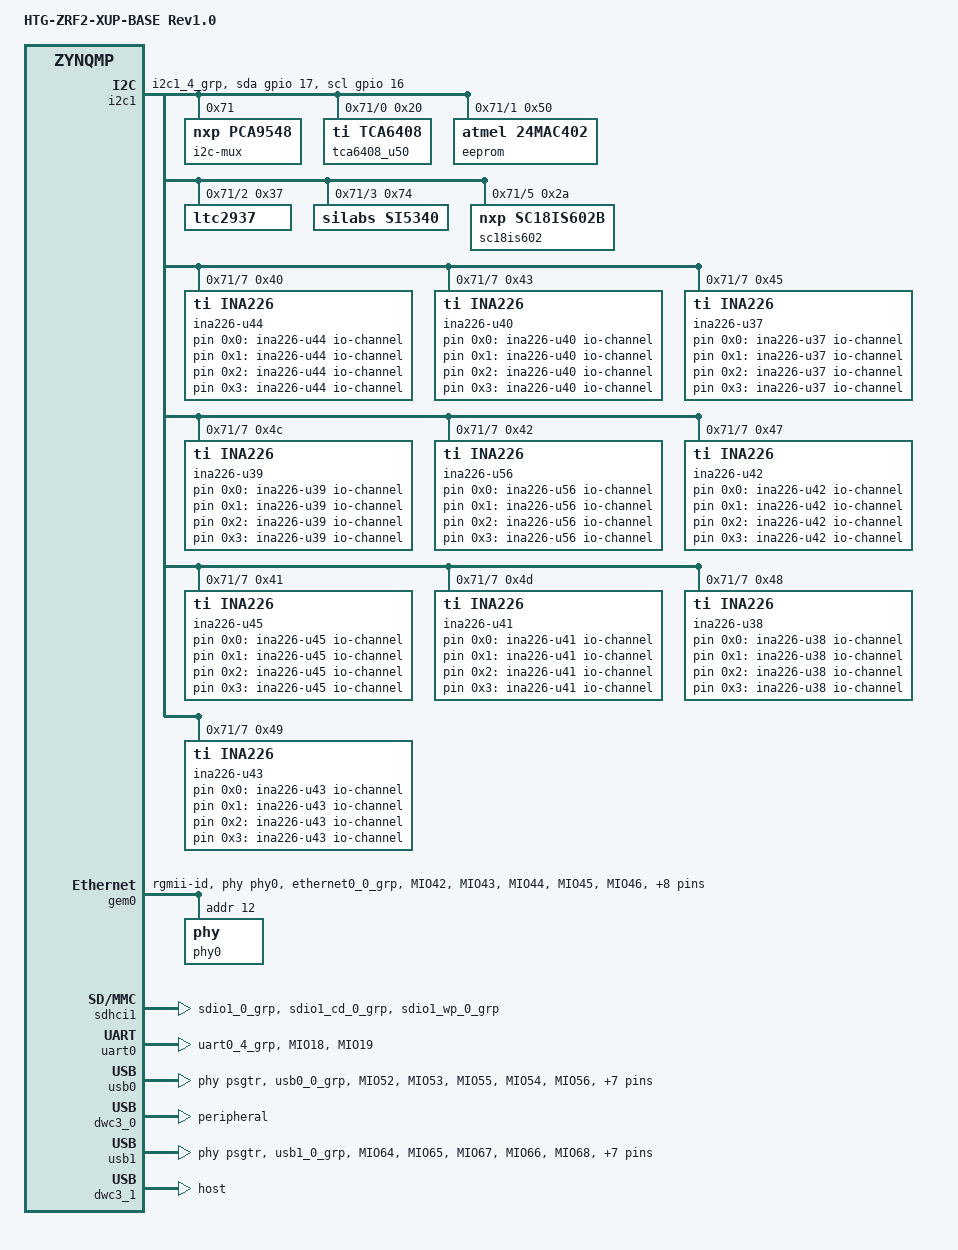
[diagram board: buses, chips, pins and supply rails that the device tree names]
#include <dt-bindings/input/input.h>
#include <dt-bindings/gpio/gpio.h>
#include <dt-bindings/pinctrl/pinctrl-zynqmp.h>
#include <dt-bindings/phy/phy.h>

/ {
	model = "HTG-ZRF2-XUP-BASE Rev1.0";
	compatible = "xlnx,zynqmp-zcu102-rev1.0", "xlnx,zynqmp-zcu102", "xlnx,zynqmp";
	
	chosen {
		xlnx,eeprom = &eeprom;
		bootargs = "earlycon clk_ignore_unused root=/dev/ram rw cma=1500M cpuidle.off=1";
		stdout-path = "serial0:115200n8";
	};

	aliases {
		i2c0 = &i2c1;
		/delete-property/ i2c1;
	};

	ina226-u44 {
		compatible = "iio-hwmon";
		io-channels = <&u44 0x0 &u44 0x1 &u44 0x2 &u44 0x3>;
	};

	ina226-u40 {
		compatible = "iio-hwmon";
		io-channels = <&u40 0x0 &u40 0x1 &u40 0x2 &u40 0x3>;
	};

	ina226-u37 {
		compatible = "iio-hwmon";
		io-channels = <&u37 0x0 &u37 0x1 &u37 0x2 &u37 0x3>;
	};

	ina226-u39 {
		compatible = "iio-hwmon";
		io-channels = <&u39 0x0 &u39 0x1 &u39 0x2 &u39 0x3>;
	};

	ina226-u56 {
		compatible = "iio-hwmon";
		io-channels = <&u56 0x0 &u56 0x1 &u56 0x2 &u56 0x3>;
	};

	ina226-u42 {
		compatible = "iio-hwmon";
		io-channels = <&u42 0x0 &u42 0x1 &u42 0x2 &u42 0x3>;
	};

	ina226-u45 {
		compatible = "iio-hwmon";
		io-channels = <&u45 0x0 &u45 0x1 &u45 0x2 &u45 0x3>;
	};

	ina226-u41 {
		compatible = "iio-hwmon";
		io-channels = <&u41 0x0 &u41 0x1 &u41 0x2 &u41 0x3>;
	};

	ina226-u38 {
		compatible = "iio-hwmon";
		io-channels = <&u38 0x0 &u38 0x1 &u38 0x2 &u38 0x3>;
	};

	ina226-u43 {
		compatible = "iio-hwmon";
		io-channels = <&u43 0x0 &u43 0x1 &u43 0x2 &u43 0x3>;
	};

	dp_clk:psgtr_dp_clock {
		compatible = "fixed-clock";
		#clock-cells = <0x00>;
		clock-frequency = <27000000>;
	};

	usb_clk:psgtr_usb_clock {
		compatible = "fixed-clock";
		#clock-cells = <0x00>;
		clock-frequency = <26000000>;
	};

};


&pinctrl0 {
	status = "okay";

	pinctrl_i2c1_default: i2c1-default {
		mux {
			groups = "i2c1_4_grp";
			function = "i2c1";
		};

		conf {
			groups = "i2c1_4_grp";
			bias-pull-up;
			slew-rate = <SLEW_RATE_SLOW>;
			io-standard = <IO_STANDARD_LVCMOS18>;
		};
	};

	pinctrl_i2c1_gpio: i2c1-gpio {
		mux {
			groups = "gpio0_16_grp", "gpio0_17_grp";
			function = "gpio0";
		};

		conf {
			groups = "gpio0_16_grp", "gpio0_17_grp";
			slew-rate = <SLEW_RATE_SLOW>;
			io-standard = <IO_STANDARD_LVCMOS18>;
		};
	};

	pinctrl_uart0_default: uart0-default {
		mux {
			groups = "uart0_4_grp";
			function = "uart0";
		};

		conf {
			groups = "uart0_4_grp";
			slew-rate = <SLEW_RATE_SLOW>;
			io-standard = <IO_STANDARD_LVCMOS18>;
		};

		conf-rx {
			pins = "MIO18";
			bias-high-impedance;
		};

		conf-tx {
			pins = "MIO19";
			bias-disable;
		};
	};

	pinctrl_usb0_default: usb0-default {
		mux {
			groups = "usb0_0_grp";
			function = "usb0";
		};

		conf {
			groups = "usb0_0_grp";
			slew-rate = <SLEW_RATE_SLOW>;
			io-standard = <IO_STANDARD_LVCMOS18>;
		};

		conf-rx {
			pins = "MIO52", "MIO53", "MIO55";
			bias-high-impedance;
		};

		conf-tx {
			pins = "MIO54", "MIO56", "MIO57", "MIO58", "MIO59",
			       "MIO60", "MIO61", "MIO62", "MIO63";
			bias-disable;
		};
	};

	pinctrl_usb1_default: usb1-default {
		mux {
			groups = "usb1_0_grp";
			function = "usb1";
		};

		conf {
			groups = "usb1_0_grp";
			slew-rate = <SLEW_RATE_SLOW>;
			io-standard = <IO_STANDARD_LVCMOS18>;
		};

		conf-rx {
			pins = "MIO64", "MIO65", "MIO67";
			bias-high-impedance;
		};

		conf-tx {
			pins = "MIO66", "MIO68", "MIO69", "MIO70", "MIO71",
			       "MIO72", "MIO73", "MIO74", "MIO75";
			bias-disable;
		};
	};

	pinctrl_gem0_default: gem0-default {
		mux {
			function = "ethernet0";
			groups = "ethernet0_0_grp";
		};

		conf {
			groups = "ethernet0_0_grp";
			slew-rate = <SLEW_RATE_SLOW>;
			io-standard = <IO_STANDARD_LVCMOS18>;
		};

		conf-rx {
			pins = "MIO42", "MIO43", "MIO44", "MIO45", "MIO46", "MIO47";
			bias-high-impedance;
			low-power-disable;
		};

		conf-tx {
			pins = "MIO26", "MIO27", "MIO28", "MIO29", "MIO30", "MIO31";
			bias-disable;
			low-power-enable;
		};

		mux-mdio {
			function = "mdio0";
			groups = "mdio0_0_grp";
		};

		conf-mdio {
			groups = "mdio0_0_grp";
			slew-rate = <SLEW_RATE_SLOW>;
			io-standard = <IO_STANDARD_LVCMOS18>;
			bias-disable;
		};
	};

	pinctrl_sdhci1_default: sdhci1-default {
		mux {
			groups = "sdio1_0_grp";
			function = "sdio1";
		};

		conf {
			groups = "sdio1_0_grp";
			slew-rate = <SLEW_RATE_SLOW>;
			io-standard = <IO_STANDARD_LVCMOS18>;
			bias-disable;
		};

		mux-cd {
			groups = "sdio1_cd_0_grp";
			function = "sdio1_cd";
		};

		conf-cd {
			groups = "sdio1_cd_0_grp";
			bias-high-impedance;
			bias-pull-up;
			slew-rate = <SLEW_RATE_SLOW>;
			io-standard = <IO_STANDARD_LVCMOS18>;
		};

		mux-wp {
			groups = "sdio1_wp_0_grp";
			function = "sdio1_wp";
		};

		conf-wp {
			groups = "sdio1_wp_0_grp";
			bias-high-impedance;
			bias-pull-up;
			slew-rate = <SLEW_RATE_SLOW>;
			io-standard = <IO_STANDARD_LVCMOS18>;
		};
	};

	pinctrl_gpio_default: gpio-default {
	};
};


&gpio {
	pinctrl-names = "default";
	pinctrl-0 = <&pinctrl_gpio_default>;
};


&i2c0 {
	status = "disabled";
};


&i2c1 {
	status = "okay";
	pinctrl-names = "default", "gpio";
	pinctrl-0 = <&pinctrl_i2c1_default>;
	pinctrl-1 = <&pinctrl_i2c1_gpio>;
	scl-gpios = <&gpio 16 GPIO_ACTIVE_HIGH>;
	sda-gpios = <&gpio 17 GPIO_ACTIVE_HIGH>;

	i2c-mux@71 { /* u21 */
		compatible = "nxp,pca9548";
		#address-cells = <1>;
		#size-cells = <0>;
		reg = <0x71>;
		i2c@0 {
			#address-cells = <1>;
			#size-cells = <0>;
			reg = <0>;
			tca6408_u50: gpio@20 {
				compatible = "ti,tca6408";
				reg = <0x20>;
				gpio-controller; /* IRQ not connected */
				#gpio-cells = <2>;
				/*
				* IRQ not connected
				* Lines:
				* 0 - QS3VH253PAG_S0
				* 1 - QS3VH253PAG_S1
				* 2-6 - not connected
				* 7 - INA226_CM_ALERT
				*/
				gpio-line-names = "QS3VH253PAG_S0",
					"QS3VH253PAG_S1",
					"", "", "", "", "",
					"INA226_CM_ALERT";
			};
		};
		i2c@1 { // eeprom
			#address-cells = <1>;
			#size-cells = <0>;
			reg = <1>;
			eeprom: eeprom@50 {
				compatible = "atmel,24mac402";
				reg = <0x50>;
				#address-cells = <1>;
				#size-cells = <1>;
			};
		};
		i2c@2 {
			#address-cells = <1>;
			#size-cells = <0>;
			reg = <2>;
			ltc2937: ltc2937@37 { // LTC2937 (U25)
				compatible = "ltc2937";
				reg = <0x37>;
			};
		};
		i2c@3 {
			#address-cells = <1>;
			#size-cells = <0>;
			reg = <3>;
			si5340: clock-generator@74 { // SI5340 (U54)
				compatible = "silabs,si5340";
				reg = <0x74>;
			};
		};
		i2c@4 { // syzygy connector
			#address-cells = <1>;
			#size-cells = <0>;
			reg = <4>;
		};
		 i2c@5 {
			#address-cells = <0x1>;
			#size-cells = <0x0>;
			reg = <0x5>;

			sc18is602@2a {
					compatible = "nxp,sc18is602b";
					reg = <0x2a>;
					#address-cells = <0x1>;
					#size-cells = <0x0>;
					lmxadc@0 {
							compatible = "ti,lmx2594";
							reg = <0x0>;
							spi-max-frequency = <400000>;
							num_bytes = <3>;
							};
					lmxdac@1 {
							compatible = "ti,lmx2594";
							reg = <0x1>;
							spi-max-frequency = <400000>;
							num_bytes = <3>;
							};
					lmk@3 {
							compatible = "ti,lmk04832";
							reg = <0x3>;
							spi-max-frequency = <400000>;
							num_bytes = <3>;
							};
					};
		};

		i2c@6 { // USB5742 (U26) usb hub
			#address-cells = <1>;
			#size-cells = <0>;
			reg = <6>;
		};
		i2c@7 { // current sensors
			#address-cells = <1>;
			#size-cells = <0>;
			reg = <7>;

			u44: ina226@40 { // u44
				compatible = "ti,ina226";
				#io-channel-cells = <1>;
				label = "ina226-u44";
				reg = <0x40>;
				shunt-resistor = <1000>;
			};

			u40: ina226@43 { // u40
				compatible = "ti,ina226";
				#io-channel-cells = <1>;
				label = "ina226-u40";
				reg = <0x43>;
				shunt-resistor = <1000>;
			};

			u37: ina226@45 { // u37
				compatible = "ti,ina226";
				#io-channel-cells = <1>;
				label = "ina226-u37";
				reg = <0x45>;
				shunt-resistor = <1000>;
			};

			u39: ina226@4c { // u39
				compatible = "ti,ina226";
				#io-channel-cells = <1>;
				label = "ina226-u39";
				reg = <0x4c>;
				shunt-resistor = <1000>;
			};

			u56: ina226@42 { // u56
				compatible = "ti,ina226";
				#io-channel-cells = <1>;
				label = "ina226-u56";
				reg = <0x42>;
				shunt-resistor = <1000>;
			};

			u42: ina226@47 { // u42
				compatible = "ti,ina226";
				#io-channel-cells = <1>;
				label = "ina226-u42";
				reg = <0x47>;
				shunt-resistor = <1000>;
			};

			u45: ina226@41 { // u45
				compatible = "ti,ina226";
				#io-channel-cells = <1>;
				label = "ina226-u45";
				reg = <0x41>;
				shunt-resistor = <1000>;
			};

			u41: ina226@4d { // u41
				compatible = "ti,ina226";
				#io-channel-cells = <1>;
				label = "ina226-u41";
				reg = <0x4d>;
				shunt-resistor = <1000>;
			};

			u38: ina226@48 { // u38
				compatible = "ti,ina226";
				#io-channel-cells = <1>;
				label = "ina226-u38";
				reg = <0x48>;
				shunt-resistor = <1000>;
			};

			u43: ina226@49 { // u43
				compatible = "ti,ina226";
				#io-channel-cells = <1>;
				label = "ina226-u43";
				reg = <0x49>;
				shunt-resistor = <1000>;
			};
		};
	};
};


&pinctrl0 {
	status = "okay";

	pinctrl_i2c1_default: i2c1-default {
		mux {
			groups = "i2c1_4_grp";
			function = "i2c1";
		};

		conf {
			groups = "i2c1_4_grp";
			bias-pull-up;
			slew-rate = <SLEW_RATE_SLOW>;
			io-standard = <IO_STANDARD_LVCMOS18>;
		};
	};

	pinctrl_i2c1_gpio: i2c1-gpio {
		mux {
			groups = "gpio0_16_grp", "gpio0_17_grp";
			function = "gpio0";
		};

		conf {
			groups = "gpio0_16_grp", "gpio0_17_grp";
			slew-rate = <SLEW_RATE_SLOW>;
			io-standard = <IO_STANDARD_LVCMOS18>;
		};
	};

	pinctrl_uart0_default: uart0-default {
		mux {
			groups = "uart0_4_grp";
			function = "uart0";
		};

		conf {
			groups = "uart0_4_grp";
			slew-rate = <SLEW_RATE_SLOW>;
			io-standard = <IO_STANDARD_LVCMOS18>;
		};

		conf-rx {
			pins = "MIO18";
			bias-high-impedance;
		};

		conf-tx {
			pins = "MIO19";
			bias-disable;
		};
	};

	pinctrl_usb0_default: usb0-default {
		mux {
			groups = "usb0_0_grp";
			function = "usb0";
		};

		conf {
			groups = "usb0_0_grp";
			slew-rate = <SLEW_RATE_SLOW>;
			io-standard = <IO_STANDARD_LVCMOS18>;
			drive-strength = <0xc>;
		};

		conf-rx {
			pins = "MIO52", "MIO53", "MIO55";
			bias-high-impedance;
		};

		conf-tx {
			pins = "MIO54", "MIO56", "MIO57", "MIO58", "MIO59",
			       "MIO60", "MIO61", "MIO62", "MIO63";
			bias-disable;
		};
	};

	pinctrl_usb1_default: usb1-default {
		mux {
			groups = "usb1_0_grp";
			function = "usb1";
		};

		conf {
			groups = "usb1_0_grp";
			slew-rate = <SLEW_RATE_SLOW>;
			io-standard = <IO_STANDARD_LVCMOS18>;
			drive-strength = <0xc>;
		};

		conf-rx {
			pins = "MIO64", "MIO65", "MIO67";
			bias-high-impedance;
		};

		conf-tx {
			pins = "MIO66", "MIO68", "MIO69", "MIO70", "MIO71",
			       "MIO72", "MIO73", "MIO74", "MIO75";
			bias-disable;
		};
	};

	pinctrl_gem0_default: gem0-default {
		mux {
			function = "ethernet0";
			groups = "ethernet0_0_grp";
		};

		conf {
			groups = "ethernet0_0_grp";
			slew-rate = <SLEW_RATE_SLOW>;
			io-standard = <IO_STANDARD_LVCMOS18>;
		};

		conf-rx {
			pins = "MIO42", "MIO43", "MIO44", "MIO45", "MIO46", "MIO47";
			bias-high-impedance;
			low-power-disable;
		};

		conf-tx {
			pins = "MIO26", "MIO27", "MIO28", "MIO29", "MIO30", "MIO31";
			bias-disable;
			low-power-enable;
		};

		mux-mdio {
			function = "mdio0";
			groups = "mdio0_0_grp";
		};

		conf-mdio {
			groups = "mdio0_0_grp";
			slew-rate = <SLEW_RATE_SLOW>;
			io-standard = <IO_STANDARD_LVCMOS18>;
			bias-disable;
		};
	};

	pinctrl_sdhci1_default: sdhci1-default {
		mux {
			groups = "sdio1_0_grp";
			function = "sdio1";
		};

		conf {
			groups = "sdio1_0_grp";
			slew-rate = <SLEW_RATE_SLOW>;
			io-standard = <IO_STANDARD_LVCMOS18>;
			bias-disable;
		};

		mux-cd {
			groups = "sdio1_cd_0_grp";
			function = "sdio1_cd";
		};

		conf-cd {
			groups = "sdio1_cd_0_grp";
			bias-high-impedance;
			bias-pull-up;
			slew-rate = <SLEW_RATE_SLOW>;
			io-standard = <IO_STANDARD_LVCMOS18>;
		};

		mux-wp {
			groups = "sdio1_wp_0_grp";
			function = "sdio1_wp";
		};

		conf-wp {
			groups = "sdio1_wp_0_grp";
			bias-high-impedance;
			bias-pull-up;
			slew-rate = <SLEW_RATE_SLOW>;
			io-standard = <IO_STANDARD_LVCMOS18>;
		};
	};

	pinctrl_gpio_default: gpio-default {
	};
};


&gem0 {
	status = "okay";
	phy-handle = <&phy0>;
	phy-mode = "rgmii-id";
	pinctrl-names = "default";
	pinctrl-0 = <&pinctrl_gem0_default>;
	phy0: phy@c {
		reg = <0xc>;
		ti,rx-internal-delay = <0x8>;
		ti,tx-internal-delay = <0xa>;
		ti,fifo-depth = <0x1>;
		ti,dp83867-rxctrl-strap-quirk;
	};
};

&sdhci1 {
	status = "okay";
	pinctrl-names = "default";
	pinctrl-0 = <&pinctrl_sdhci1_default>;
	disable-wp;
	xlnx,mio_bank = <1>;
	clock-frequency = <100000000>;
	no-1-8-v;
};

&uart0 {
	status = "okay";
	pinctrl-names = "default";
	pinctrl-0 = <&pinctrl_uart0_default>;
};

&usb0 {
	status = "okay";
	phys = <&psgtr 2 PHY_TYPE_USB3 0 1>;
	pinctrl-names = "default";
	pinctrl-0 = <&pinctrl_usb0_default>;
};

&dwc3_0 {
	status = "okay";
	dr_mode = "peripheral";
	snps,usb3_lpm_capable;
	phy-names = "usb3-phy";
	maximum-speed = "super-speed";
};

&usb1 {
	status = "okay";
	phys = <&psgtr 3 PHY_TYPE_USB3 1 1>;
	pinctrl-names = "default";
	pinctrl-0 = <&pinctrl_usb1_default>;
};

&dwc3_1 {
	status = "okay";
	dr_mode = "host";
	snps,usb3_lpm_capable;
	phy-names = "usb3-phy";
	maximum-speed = "super-speed";
};

&psgtr {
      /* dp 0-1, usb0, usb1 */
      clocks = <&dp_clk>, <&usb_clk>;
      clock-names = "ref0", "ref1";
 };









